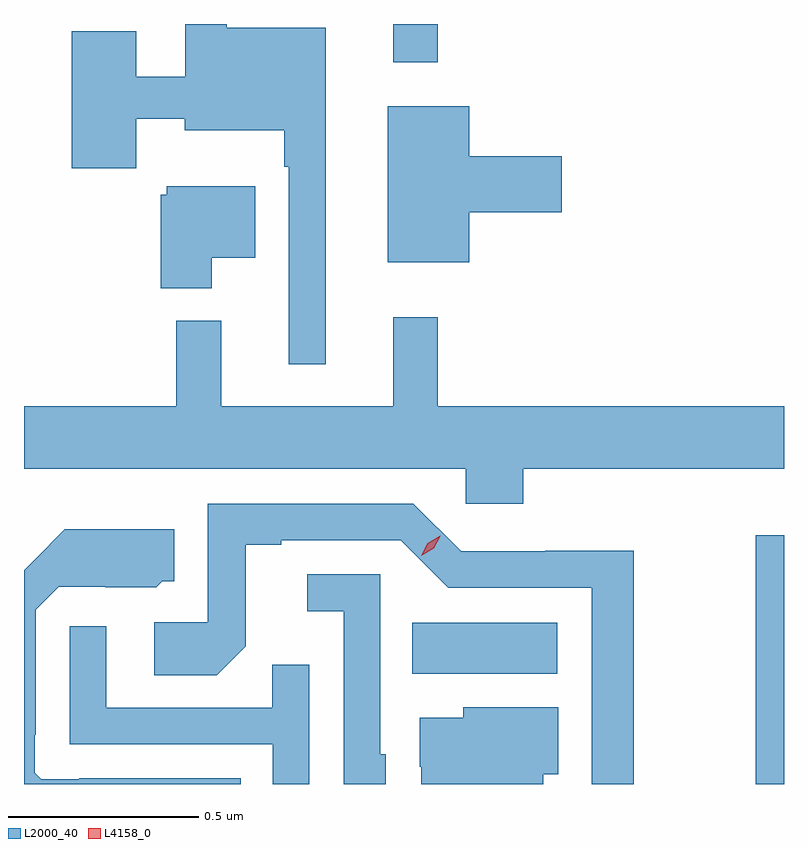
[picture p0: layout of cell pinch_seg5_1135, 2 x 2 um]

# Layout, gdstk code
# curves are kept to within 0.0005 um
import gdstk
lib = gdstk.Library(unit=1e-6, precision=1e-09)
def R(c, l, rs):  # rectangles x0, y0, x1, y1
    for r in rs: c.add(gdstk.rectangle(r[:2], r[2:], *l))
def P(c, l, *ps):  # polygons
    for p in ps: c.add(gdstk.Polygon(p, *l))
L2000_40 = (2000, 40)
L4158_0 = (4158, 0)

pinch_seg5_1135 = lib.new_cell('pinch_seg5_1135')
R(pinch_seg5_1135, L2000_40, [(805.381,871.914,805.456,872.569), (804.478,872.204,804.859,872.338), (804.428,873.813,804.545,873.914)])
P(pinch_seg5_1135, L2000_40, [(804.25,873.904),(803.989,873.904),(803.989,873.914),(803.88,873.914),(803.88,873.775),(803.752,873.775),(803.752,873.895),(803.582,873.895),(803.582,873.534),(803.752,873.534),(803.752,873.665),(803.879,873.665),(803.879,873.635),(804.141,873.635),(804.141,873.539),(804.153,873.539),(804.153,873.018),(804.25,873.018)],
  [(804.628,873.419),(804.871,873.419),(804.871,873.566),(804.628,873.566),(804.628,873.697),(804.413,873.697),(804.413,873.287),(804.628,873.287)],
  [(803.95,873.299),(804.064,873.299),(804.064,873.487),(803.832,873.487),(803.832,873.465),(803.816,873.465),(803.816,873.218),(803.95,873.218)],
  [(804.77,872.744),(805.456,872.744),(805.456,872.908),(804.545,872.908),(804.545,873.142),(804.428,873.142),(804.428,872.908),(803.975,872.908),(803.975,873.133),(803.857,873.133),(803.857,872.908),(803.456,872.908),(803.456,872.744),(804.618,872.744),(804.618,872.651),(804.77,872.651)],
  [(805.061,872.528),(804.828,872.528),(804.828,872.526),(804.606,872.526),(804.48,872.652),(803.94,872.652),(803.94,872.34),(803.799,872.34),(803.799,872.2),(803.963,872.2),(804.039,872.276),(804.039,872.544),(804.133,872.544),(804.133,872.556),(804.447,872.556),(804.573,872.43),(804.95,872.43),(804.95,871.914),(805.061,871.914)],
  [(804.026,871.929),(803.602,871.929),(803.602,871.926),(803.502,871.926),(803.484,871.944),(803.484,872.044),(803.487,872.044),(803.487,872.373),(803.547,872.433),(803.67,872.433),(803.67,872.432),(803.804,872.432),(803.82,872.448),(803.851,872.448),(803.851,872.584),(803.563,872.584),(803.456,872.476),(803.456,871.914),(804.026,871.914)],
  [(804.408,871.992),(804.393,871.992),(804.393,872.466),(804.201,872.466),(804.201,872.369),(804.297,872.369),(804.297,871.914),(804.408,871.914)],
  [(804.207,872.228),(804.109,872.228),(804.109,872.115),(803.673,872.115),(803.673,872.329),(803.577,872.329),(803.577,872.019),(804.111,872.019),(804.111,871.914),(804.207,871.914)],
  [(804.823,871.94),(804.862,871.94),(804.862,872.116),(804.612,872.116),(804.612,872.089),(804.497,872.089),(804.497,871.96),(804.501,871.96),(804.501,871.914),(804.823,871.914)])
P(pinch_seg5_1135, L4158_0, [(804.502,872.515),(804.502,872.515),(804.519,872.548),(804.551,872.567),(804.551,872.567),(804.551,872.566),(804.534,872.534),(804.502,872.515)])

lib.write_gds('pinch_seg5_1135.gds')
